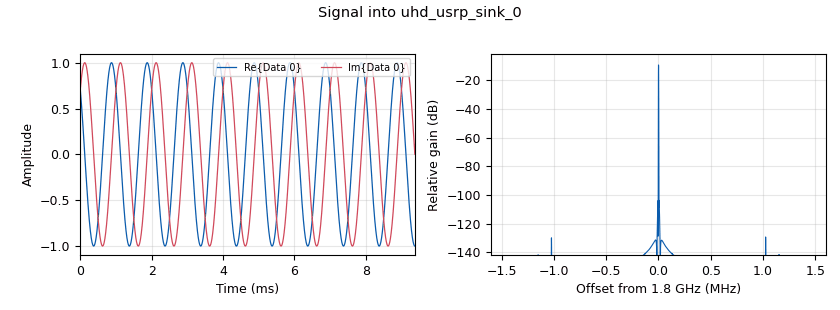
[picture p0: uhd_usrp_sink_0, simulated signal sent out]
<?xml version='1.0' encoding='utf-8'?>
<flow_graph>
<block>
<key>options</key>
<param><key>id</key><value>top_block</value></param>
<param><key>generate_options</key><value>wx_gui</value></param>
<param><key>category</key><value>Custom</value></param>
</block>
<block>
<key>variable</key>
<param><key>id</key><value>samp_rate</value></param>
<param><key>value</key><value>3200000</value></param>
</block>
<block>
<key>gr_sig_source_x</key>
<param><key>id</key><value>gr_sig_source_x_0</value></param>
<param><key>type</key><value>complex</value></param>
<param><key>samp_rate</key><value>samp_rate</value></param>
<param><key>waveform</key><value>gr.GR_COS_WAVE</value></param>
<param><key>freq</key><value>1000</value></param>
<param><key>amp</key><value>1</value></param>
<param><key>offset</key><value>0</value></param>
</block>
<block>
<key>uhd_usrp_sink</key>
<param><key>id</key><value>uhd_usrp_sink_0</value></param>
<param><key>type</key><value>fc32</value></param>
<param><key>dev_addr</key><value>addr=192.168.10.108</value></param>
<param><key>sync</key><value></value></param>
<param><key>clock_rate</key><value>0.0</value></param>
<param><key>samp_rate</key><value>samp_rate</value></param>
<param><key>center_freq0</key><value>1800000000</value></param>
<param><key>gain0</key><value>0</value></param>
<param><key>ant0</key><value>TX/RX</value></param>
</block>
<block>
<key>uhd_usrp_source</key>
<param><key>id</key><value>uhd_usrp_source_0</value></param>
<param><key>type</key><value>fc32</value></param>
<param><key>dev_addr</key><value>addr=192.168.10.108</value></param>
<param><key>sync</key><value></value></param>
<param><key>clock_rate</key><value>0.0</value></param>
<param><key>samp_rate</key><value>samp_rate</value></param>
<param><key>center_freq0</key><value>908000000</value></param>
<param><key>gain0</key><value>0</value></param>
<param><key>ant0</key><value>RX2</value></param>
</block>
<block>
<key>gr_null_sink</key>
<param><key>id</key><value>gr_null_sink_0</value></param>
<param><key>type</key><value>complex</value></param>
<param><key>vlen</key><value>1</value></param>
</block>
<connection><source_block_id>gr_sig_source_x_0</source_block_id><sink_block_id>uhd_usrp_sink_0</sink_block_id><source_key>0</source_key><sink_key>0</sink_key></connection>
<connection><source_block_id>uhd_usrp_source_0</source_block_id><sink_block_id>gr_null_sink_0</sink_block_id><source_key>0</source_key><sink_key>0</sink_key></connection>
</flow_graph>
